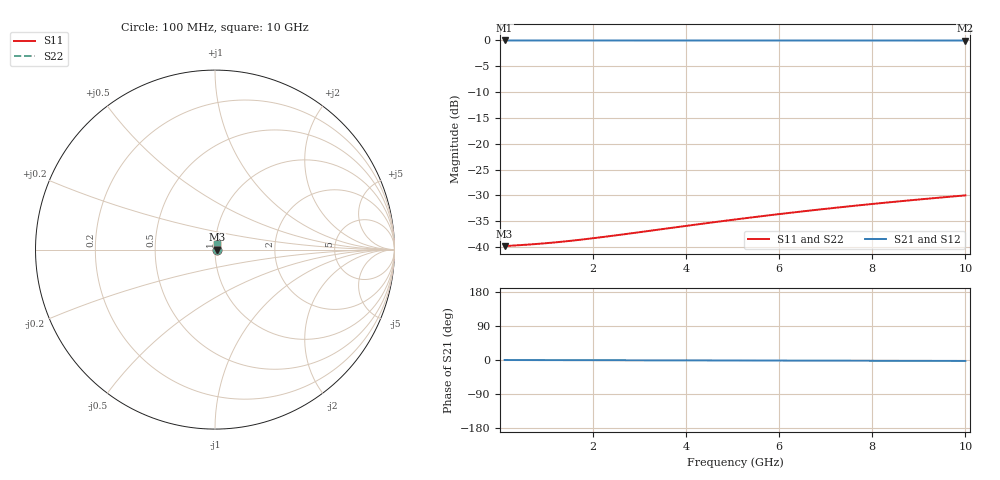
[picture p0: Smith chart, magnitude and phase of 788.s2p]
# Hz S RI R 50.00
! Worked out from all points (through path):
!   100 points, 100 MHz to 10 GHz, reference 50 ohm
!   highest |S21| = -0.09 dB at 100 MHz (marker M1); lowest = -0.1 dB at 10 GHz (marker M2)
!   lowest |S11| = -39.8 dB at 100 MHz (marker M3), VSWR 1.02, Z = 51 + j0.0298 ohm
!   |S11| at or under -10 dB: start of sweep to end of sweep
!   |S22| runs from -39.8 to -30.0 dB; largest |S21 - S12| = 0
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1e8  0.0102 0.000292  0.9898 -0.00043  0.9898 -0.00043  0.0102 0.000292
7e8  0.0105 0.00205  0.9895 -0.00301  0.9895 -0.00301  0.0105 0.00205
1e9  0.0106 0.00292  0.9894 -0.0043  0.9894 -0.0043  0.0106 0.00292
1.2e9  0.0106 0.00351  0.9894 -0.00516  0.9894 -0.00516  0.0106 0.00351
1.4e9  0.0106 0.00409  0.9894 -0.00602  0.9894 -0.00602  0.0106 0.00409
1.8e9  0.0107 0.00526  0.9893 -0.00774  0.9893 -0.00774  0.0107 0.00526
2.1e9  0.0107 0.00613  0.9892 -0.00903  0.9892 -0.00903  0.0107 0.00613
2.4e9  0.0108 0.00701  0.9892 -0.0103  0.9892 -0.0103  0.0108 0.00701
2.8e9  0.0109 0.00818  0.9891 -0.012  0.9891 -0.012  0.0109 0.00818
3.4e9  0.0109 0.00993  0.989 -0.0146  0.989 -0.0146  0.0109 0.00993
4.3e9  0.0111 0.0126  0.9889 -0.0185  0.9889 -0.0185  0.0111 0.0126
5.1e9  0.0112 0.0149  0.9887 -0.0219  0.9887 -0.0219  0.0112 0.0149
5.5e9  0.0113 0.016  0.9887 -0.0236  0.9887 -0.0236  0.0113 0.016
5.9e9  0.0114 0.0172  0.9886 -0.0254  0.9886 -0.0254  0.0114 0.0172
6.3e9  0.0115 0.0184  0.9885 -0.0271  0.9885 -0.0271  0.0115 0.0184
6.7e9  0.0115 0.0195  0.9884 -0.0288  0.9884 -0.0288  0.0115 0.0195
7.1e9  0.0116 0.0207  0.9883 -0.0305  0.9883 -0.0305  0.0116 0.0207
7.5e9  0.0117 0.0219  0.9882 -0.0322  0.9882 -0.0322  0.0117 0.0219
7.9e9  0.0118 0.023  0.9881 -0.0339  0.9881 -0.0339  0.0118 0.023
8.4e9  0.0119 0.0245  0.988 -0.0361  0.988 -0.0361  0.0119 0.0245
9.2e9  0.0121 0.0268  0.9878 -0.0395  0.9878 -0.0395  0.0121 0.0268
1e10  0.0124 0.0291  0.9875 -0.0429  0.9875 -0.0429  0.0124 0.0291
